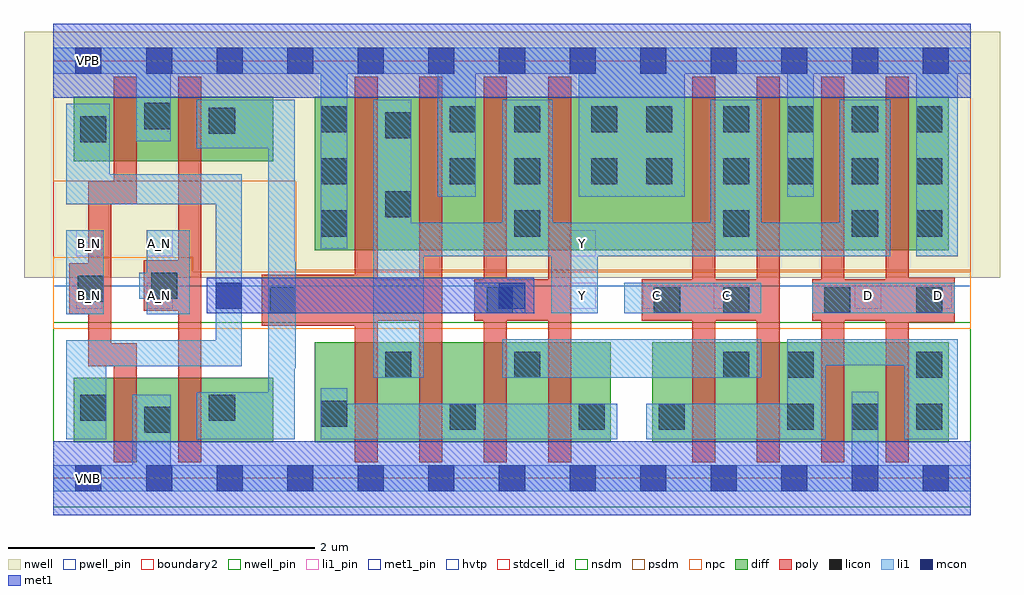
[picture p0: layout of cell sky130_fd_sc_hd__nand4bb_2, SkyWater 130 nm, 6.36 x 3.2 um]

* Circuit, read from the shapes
.subckt sky130_fd_sc_hd__nand4bb_2 A_N B_N C D VGND VNB VPB VPWR Y
XM1 VGND B_N n1 VNB sky130_fd_pr__nfet_01v8 w=0.42 l=0.15
XM2 n2 A_N VGND VNB sky130_fd_pr__nfet_01v8 w=0.42 l=0.15
XM3 Y n2 n3 VNB sky130_fd_pr__nfet_01v8 w=0.65 l=0.15 m=2
XM4 n4 n1 n3 VNB sky130_fd_pr__nfet_01v8 w=0.65 l=0.15 m=2
XM5 n4 C n5 VNB sky130_fd_pr__nfet_01v8 w=0.65 l=0.15 m=2
XM6 VGND D n5 VNB sky130_fd_pr__nfet_01v8 w=0.65 l=0.15 m=2
XM7 VPWR B_N n1 VPB sky130_fd_pr__pfet_01v8_hvt w=0.42 l=0.15
XM8 n2 A_N VPWR VPB sky130_fd_pr__pfet_01v8_hvt w=0.42 l=0.15
XM9 Y n2 VPWR VPB sky130_fd_pr__pfet_01v8_hvt w=1 l=0.15 m=2
XM10 Y n1 VPWR VPB sky130_fd_pr__pfet_01v8_hvt w=1 l=0.15 m=2
XM11 Y C VPWR VPB sky130_fd_pr__pfet_01v8_hvt w=1 l=0.15 m=2
XM12 Y D VPWR VPB sky130_fd_pr__pfet_01v8_hvt w=1 l=0.15 m=2
.ends

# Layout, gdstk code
import gdstk
lib = gdstk.Library(unit=1e-6, precision=1e-09)
def R(c, l, rs):  # rectangles x0, y0, x1, y1
    for r in rs: c.add(gdstk.rectangle(r[:2], r[2:], *l))
def A(c, l, x, y, w, h, nx, ny, dx, dy):  # array of equal rectangles
    R(c, l, [(x+i*dx, y+j*dy, x+i*dx+w, y+j*dy+h) for i in range(nx) for j in range(ny)])
def P(c, l, *ps):  # polygons
    for p in ps: c.add(gdstk.Polygon(p, *l))
nwell_pin = (64, 16)
nwell = (64, 20)
diff = (65, 20)
poly = (66, 20)
licon = (66, 44)
li1_pin = (67, 16)
li1 = (67, 20)
mcon = (67, 44)
met1_pin = (68, 16)
met1 = (68, 20)
hvtp = (78, 44)
stdcell_id = (81, 4)
nsdm = (93, 44)
psdm = (94, 20)
npc = (95, 20)
pwell_pin = (122, 16)
boundary2 = (236, 0)

sky130_fd_sc_hd__nand4bb = lib.new_cell('sky130_fd_sc_hd__nand4bb_2')
R(sky130_fd_sc_hd__nand4bb, nwell_pin, [(0.145,2.635,0.315,2.805)])
R(sky130_fd_sc_hd__nand4bb, nwell, [(-0.19,1.305,6.17,2.91)])
R(sky130_fd_sc_hd__nand4bb, diff, [(0.135,0.235,1.435,0.655), (1.705,0.235,3.635,0.885), (3.905,0.235,5.835,0.885), (1.705,1.485,5.835,2.485), (0.135,2.065,1.435,2.485)])
R(sky130_fd_sc_hd__nand4bb, poly, [(5.575,1.015,5.875,1.025), (5.575,1.295,5.875,1.305)])
P(sky130_fd_sc_hd__nand4bb, poly, [(3.375,2.615),(3.225,2.615),(3.225,1.295),(2.955,1.295),(2.955,2.615),(2.805,2.615),(2.805,1.295),(2.745,1.295),(2.745,1.025),(2.805,1.025),(2.805,0.105),(2.955,0.105),(2.955,1.025),(3.225,1.025),(3.225,0.105),(3.375,0.105)],
  [(0.545,0.88),(0.38,0.88),(0.38,1.785),(0.545,1.785),(0.545,2.615),(0.395,2.615),(0.395,1.935),(0.23,1.935),(0.23,1.4),(0.105,1.4),(0.105,1.07),(0.23,1.07),(0.23,0.73),(0.395,0.73),(0.395,0.105),(0.545,0.105)],
  [(2.535,2.615),(2.385,2.615),(2.385,1.295),(2.115,1.295),(2.115,2.615),(1.965,2.615),(1.965,1.325),(1.36,1.325),(1.36,0.995),(1.965,0.995),(1.965,0.105),(2.115,0.105),(2.115,1.025),(2.385,1.025),(2.385,0.105),(2.535,0.105)],
  [(0.965,2.615),(0.815,2.615),(0.815,1.42),(0.59,1.42),(0.59,1.09),(0.815,1.09),(0.815,0.105),(0.965,0.105)],
  [(5.875,1.295),(5.575,1.295),(5.575,2.615),(5.425,2.615),(5.425,1.295),(5.155,1.295),(5.155,2.615),(5.005,2.615),(5.005,1.295),(4.945,1.295),(4.945,1.025),(5.005,1.025),(5.005,0.105),(5.155,0.105),(5.155,1.025),(5.425,1.025),(5.425,0.105),(5.575,0.105),(5.575,1.025),(5.875,1.025)],
  [(4.735,2.615),(4.585,2.615),(4.585,1.295),(4.315,1.295),(4.315,2.615),(4.165,2.615),(4.165,1.295),(3.835,1.295),(3.835,1.025),(4.165,1.025),(4.165,0.105),(4.315,0.105),(4.315,1.025),(4.585,1.025),(4.585,0.105),(4.735,0.105)])
A(sky130_fd_sc_hd__nand4bb, licon, 4.785, 0.315, 0.17, 0.17, 3, 1, 0.42, 0)
A(sky130_fd_sc_hd__nand4bb, licon, 1.745, 1.575, 0.17, 0.17, 1, 3, 0, 0.34)
A(sky130_fd_sc_hd__nand4bb, licon, 3.005, 1.575, 0.17, 0.17, 1, 3, 0, 0.34)
A(sky130_fd_sc_hd__nand4bb, licon, 4.365, 1.915, 0.17, 0.17, 4, 2, 0.42, 0.34)
R(sky130_fd_sc_hd__nand4bb, licon, [(0.595,0.295,0.765,0.465), (2.585,0.315,2.755,0.485), (3.425,0.315,3.595,0.485), (3.945,0.315,4.115,0.485), (1.745,0.335,1.915,0.505), (0.175,0.375,0.345,0.545), (1.015,0.375,1.185,0.545), (2.165,0.655,2.335,0.825), (3.005,0.655,3.175,0.825), (4.365,0.655,4.535,0.825), (4.785,0.655,4.955,0.825), (5.625,0.655,5.795,0.825), (1.41,1.075,1.58,1.245), (2.825,1.075,2.995,1.245), (3.915,1.075,4.085,1.245), (4.365,1.075,4.535,1.245), (5.025,1.075,5.195,1.245), (5.625,1.075,5.795,1.245), (0.16,1.15,0.33,1.32), (0.64,1.17,0.81,1.34), (4.365,1.575,4.535,1.745), (5.205,1.575,5.375,1.745), (5.625,1.575,5.795,1.745), (2.165,1.7,2.335,1.87), (2.585,1.915,2.755,2.085), (3.505,1.915,3.675,2.085), (3.865,1.915,4.035,2.085), (0.175,2.19,0.345,2.36), (2.165,2.215,2.335,2.385), (1.015,2.245,1.185,2.415), (2.585,2.255,2.755,2.425), (3.505,2.255,3.675,2.425), (3.865,2.255,4.035,2.425), (0.595,2.275,0.765,2.445)])
R(sky130_fd_sc_hd__nand4bb, li1_pin, [(0.15,1.105,0.32,1.275), (0.61,1.105,0.78,1.275), (3.365,1.105,3.535,1.275), (3.845,1.105,4.015,1.275), (4.305,1.105,4.475,1.275), (5.225,1.105,5.395,1.275), (5.685,1.105,5.855,1.275), (0.15,1.445,0.32,1.615), (0.61,1.445,0.78,1.615), (3.365,1.445,3.535,1.615)])
R(sky130_fd_sc_hd__nand4bb, li1, [(2.925,0.655,4.615,0.905), (0.085,1.07,0.33,1.615), (2.745,1.075,3.075,1.275), (3.72,1.075,4.615,1.275), (4.945,1.075,5.875,1.275)])
P(sky130_fd_sc_hd__nand4bb, li1, [(5.455,2.465),(5.125,2.465),(5.125,1.665),(4.615,1.665),(4.615,2.465),(4.285,2.465),(4.285,1.665),(3.255,1.665),(3.255,2.465),(2.925,2.465),(2.925,1.665),(2.335,1.665),(2.335,2.465),(2.085,2.465),(2.085,0.655),(2.415,0.655),(2.415,1.445),(3.245,1.445),(3.245,1.075),(3.55,1.075),(3.55,1.445),(5.455,1.445)],
  [(5.895,0.905),(4.785,0.905),(4.785,0.485),(3.865,0.485),(3.865,0.255),(5.035,0.255),(5.035,0.735),(5.545,0.735),(5.545,0.255),(5.895,0.255)],
  [(5.98,2.805),(0,2.805),(0,2.635),(0.54,2.635),(0.54,2.195),(0.765,2.195),(0.765,2.635),(1.745,2.635),(1.745,1.495),(1.915,1.495),(1.915,2.635),(2.505,2.635),(2.505,1.835),(2.755,1.835),(2.755,2.635),(3.425,2.635),(3.425,1.835),(4.115,1.835),(4.115,2.635),(4.785,2.635),(4.785,1.835),(4.955,1.835),(4.955,2.635),(5.625,2.635),(5.625,1.445),(5.895,1.445),(5.895,2.635),(5.98,2.635)],
  [(1.23,1.98),(0.37,1.98),(0.37,2.44),(0.085,2.44),(0.085,1.785),(1.06,1.785),(1.06,0.9),(0.085,0.9),(0.085,0.255),(0.345,0.255),(0.345,0.73),(1.23,0.73)],
  [(0.89,1.615),(0.61,1.615),(0.61,1.34),(0.56,1.34),(0.56,1.17),(0.61,1.17),(0.61,1.07),(0.89,1.07)],
  [(3.675,0.485),(1.915,0.485),(1.915,0.585),(1.745,0.585),(1.745,0.255),(3.675,0.255)],
  [(1.58,1.41),(1.575,1.41),(1.575,2.465),(0.935,2.465),(0.935,2.15),(1.4,2.15),(1.4,0.56),(0.935,0.56),(0.935,0.255),(1.575,0.255),(1.575,0.715),(1.58,0.715)],
  [(5.98,0.085),(5.375,0.085),(5.375,0.565),(5.205,0.565),(5.205,0.085),(0.765,0.085),(0.765,0.545),(0.515,0.545),(0.515,0.085),(0,0.085),(0,-0.085),(5.98,-0.085)])
A(sky130_fd_sc_hd__nand4bb, mcon, 0.145, -0.085, 0.17, 0.17, 13, 2, 0.46, 2.72)
R(sky130_fd_sc_hd__nand4bb, mcon, [(1.06,1.105,1.23,1.275), (2.905,1.105,3.075,1.275)])
R(sky130_fd_sc_hd__nand4bb, met1_pin, [(0.145,-0.085,0.315,0.085), (0.145,2.635,0.315,2.805)])
R(sky130_fd_sc_hd__nand4bb, met1, [(1,1.075,3.135,1.305)])
R(sky130_fd_sc_hd__nand4bb, hvtp, [(0,1.25,5.98,2.72)])
R(sky130_fd_sc_hd__nand4bb, stdcell_id, [(0,0,5.98,2.72)])
R(sky130_fd_sc_hd__nand4bb, nsdm, [(0,-0.19,5.98,1.015)])
P(sky130_fd_sc_hd__nand4bb, psdm, [(5.98,2.91),(0,2.91),(0,1.935),(1.58,1.935),(1.58,1.355),(5.98,1.355)])
P(sky130_fd_sc_hd__nand4bb, npc, [(5.98,1.345),(0.91,1.345),(0.91,1.44),(0,1.44),(0,0.975),(5.98,0.975)])
R(sky130_fd_sc_hd__nand4bb, pwell_pin, [(0.145,-0.085,0.315,0.085)])
R(sky130_fd_sc_hd__nand4bb, boundary2, [(0,0,5.98,2.72)])
sky130_fd_sc_hd__nand4bb.add(gdstk.FlexPath([(0,2.72),(5.98,2.72)], 0.48, ends="flush", simple_path=True, layer=68, datatype=20))  # met1
sky130_fd_sc_hd__nand4bb.add(gdstk.FlexPath([(0,0),(5.98,0)], 0.48, ends="flush", simple_path=True, layer=68, datatype=20))  # met1
sky130_fd_sc_hd__nand4bb.add(gdstk.Label('D', (5.77,1.19), layer=67, texttype=5))
sky130_fd_sc_hd__nand4bb.add(gdstk.Label('D', (5.31,1.19), layer=67, texttype=5))
sky130_fd_sc_hd__nand4bb.add(gdstk.Label('C', (3.93,1.19), layer=67, texttype=5))
sky130_fd_sc_hd__nand4bb.add(gdstk.Label('B_N', (0.235,1.53), layer=67, texttype=5))
sky130_fd_sc_hd__nand4bb.add(gdstk.Label('B_N', (0.235,1.19), layer=67, texttype=5))
sky130_fd_sc_hd__nand4bb.add(gdstk.Label('A_N', (0.695,1.53), layer=67, texttype=5))
sky130_fd_sc_hd__nand4bb.add(gdstk.Label('A_N', (0.695,1.19), layer=67, texttype=5))
sky130_fd_sc_hd__nand4bb.add(gdstk.Label('Y', (3.45,1.53), layer=67, texttype=5))
sky130_fd_sc_hd__nand4bb.add(gdstk.Label('Y', (3.45,1.19), layer=67, texttype=5))
sky130_fd_sc_hd__nand4bb.add(gdstk.Label('C', (4.39,1.19), layer=67, texttype=5))
sky130_fd_sc_hd__nand4bb.add(gdstk.Label('VNB', (0.23,0), layer=64, texttype=59))
sky130_fd_sc_hd__nand4bb.add(gdstk.Label('VPB', (0.23,2.72), layer=64, texttype=5))
sky130_fd_sc_hd__nand4bb.add(gdstk.Label('VGND', (0.23,0), layer=68, texttype=5))
sky130_fd_sc_hd__nand4bb.add(gdstk.Label('VPWR', (0.23,2.72), layer=68, texttype=5))
sky130_fd_sc_hd__nand4bb.add(gdstk.Label('nand4bb_2', (0,0), layer=83, texttype=44))

lib.write_gds('sky130_fd_sc_hd__nand4bb_2.gds')
